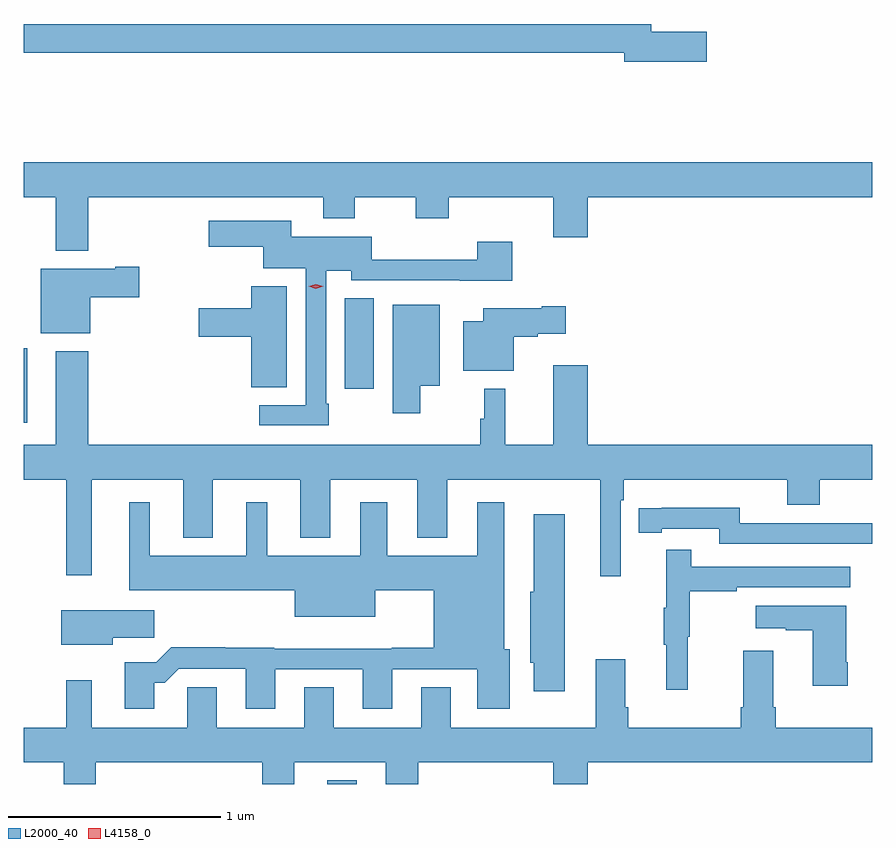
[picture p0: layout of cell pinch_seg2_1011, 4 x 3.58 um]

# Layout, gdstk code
import gdstk
lib = gdstk.Library(unit=1e-6, precision=1e-09)
def R(c, l, rs):  # rectangles x0, y0, x1, y1
    for r in rs: c.add(gdstk.rectangle(r[:2], r[2:], *l))
def P(c, l, *ps):  # polygons
    for p in ps: c.add(gdstk.Polygon(p, *l))
L2000_40 = (2000, 40)
L4158_0 = (4158, 0)

pinch_seg2_1011 = lib.new_cell('pinch_seg2_1011')
R(pinch_seg2_1011, L2000_40, [(307.799,590.258,307.939,590.275), (306.369,591.96,306.385,592.312), (307.883,592.122,308.02,592.547)])
P(pinch_seg2_1011, L2000_40, [(309.589,593.804),(309.328,593.804),(309.328,593.84),(306.369,593.84),(306.369,593.704),(309.2,593.704),(309.2,593.662),(309.589,593.662)],
  [(306.674,593.024),(307.781,593.024),(307.781,592.925),(307.929,592.925),(307.929,593.024),(308.218,593.024),(308.218,592.925),(308.373,592.925),(308.373,593.024),(308.864,593.024),(308.864,592.836),(309.028,592.836),(309.028,593.024),(310.369,593.024),(310.369,593.188),(306.369,593.188),(306.369,593.024),(306.521,593.024),(306.521,592.772),(306.674,592.772)],
  [(307.807,592.051),(307.794,592.051),(307.794,592.676),(307.914,592.676),(307.914,592.632),(308.425,592.632),(308.425,592.631),(308.672,592.631),(308.672,592.813),(308.507,592.813),(308.507,592.73),(308.01,592.73),(308.01,592.837),(307.63,592.837),(307.63,592.912),(307.242,592.912),(307.242,592.79),(307.499,592.79),(307.499,592.688),(307.698,592.688),(307.698,592.044),(307.479,592.044),(307.479,591.948),(307.807,591.948)],
  [(306.682,592.553),(306.913,592.553),(306.913,592.695),(306.8,592.695),(306.8,592.687),(306.449,592.687),(306.449,592.382),(306.682,592.382)],
  [(307.609,592.603),(307.442,592.603),(307.442,592.501),(307.194,592.501),(307.194,592.367),(307.442,592.367),(307.442,592.129),(307.609,592.129)],
  [(308.238,592.136),(308.329,592.136),(308.329,592.516),(308.108,592.516),(308.108,592.005),(308.238,592.005)],
  [(308.68,592.367),(308.793,592.367),(308.793,592.379),(308.923,592.379),(308.923,592.509),(308.81,592.509),(308.81,592.501),(308.534,592.501),(308.534,592.438),(308.441,592.438),(308.441,592.205),(308.68,592.205)],
  [(309.183,591.596),(309.197,591.596),(309.197,591.692),(309.968,591.692),(309.968,591.575),(310.121,591.575),(310.121,591.692),(310.369,591.692),(310.369,591.856),(309.028,591.856),(309.028,592.231),(308.864,592.231),(308.864,591.856),(308.64,591.856),(308.64,592.12),(308.54,592.12),(308.54,591.98),(308.521,591.98),(308.521,591.856),(306.674,591.856),(306.674,592.297),(306.521,592.297),(306.521,591.856),(306.369,591.856),(306.369,591.692),(306.57,591.692),(306.57,591.243),(306.691,591.243),(306.691,591.692),(307.121,591.692),(307.121,591.419),(307.261,591.419),(307.261,591.692),(307.673,591.692),(307.673,591.419),(307.813,591.419),(307.813,591.692),(308.225,591.692),(308.225,591.419),(308.365,591.419),(308.365,591.692),(309.086,591.692),(309.086,591.237),(309.183,591.237)],
  [(306.985,590.735),(307.034,590.735),(307.101,590.802),(307.415,590.802),(307.415,590.613),(307.555,590.613),(307.555,590.799),(307.967,590.799),(307.967,590.613),(308.107,590.613),(308.107,590.799),(308.507,590.799),(308.507,590.613),(308.659,590.613),(308.659,590.892),(308.635,590.892),(308.635,591.586),(308.507,591.586),(308.507,591.334),(308.083,591.334),(308.083,591.586),(307.955,591.586),(307.955,591.334),(307.516,591.334),(307.516,591.586),(307.418,591.586),(307.418,591.334),(306.964,591.334),(306.964,591.586),(306.866,591.586),(306.866,591.17),(307.646,591.17),(307.646,591.047),(308.026,591.047),(308.026,591.17),(308.303,591.17),(308.303,590.9),(308.103,590.9),(308.103,590.896),(307.551,590.896),(307.551,590.9),(307.319,590.9),(307.319,590.903),(307.064,590.903),(306.994,590.833),(306.845,590.833),(306.845,590.613),(306.985,590.613)],
  [(310.369,591.488),(310.204,591.488),(310.204,591.486),(309.744,591.486),(309.744,591.559),(309.376,591.559),(309.376,591.558),(309.268,591.558),(309.268,591.442),(309.376,591.442),(309.376,591.462),(309.648,591.462),(309.648,591.39),(310.369,591.39)],
  [(308.92,591.529),(308.774,591.529),(308.774,591.165),(308.756,591.165),(308.756,590.829),(308.774,590.829),(308.774,590.694),(308.92,590.694)],
  [(309.5,590.952),(309.508,590.952),(309.508,591.166),(309.731,591.166),(309.731,591.186),(310.264,591.186),(310.264,591.282),(309.515,591.282),(309.515,591.361),(309.398,591.361),(309.398,591.089),(309.387,591.089),(309.387,590.915),(309.398,590.915),(309.398,590.703),(309.5,590.703)],
  [(310.254,590.833),(310.246,590.833),(310.246,591.097),(309.819,591.097),(309.819,590.993),(309.962,590.993),(309.962,590.983),(310.088,590.983),(310.088,590.721),(310.254,590.721)],
  [(306.79,590.947),(306.985,590.947),(306.985,591.076),(306.546,591.076),(306.546,590.915),(306.79,590.915)],
  [(306.709,590.36),(307.493,590.36),(307.493,590.258),(307.645,590.258),(307.645,590.36),(308.075,590.36),(308.075,590.258),(308.228,590.258),(308.228,590.36),(308.864,590.36),(308.864,590.258),(309.028,590.258),(309.028,590.36),(310.369,590.36),(310.369,590.524),(309.914,590.524),(309.914,590.62),(309.901,590.62),(309.901,590.887),(309.761,590.887),(309.761,590.62),(309.749,590.62),(309.749,590.524),(309.218,590.524),(309.218,590.62),(309.205,590.62),(309.205,590.845),(309.065,590.845),(309.065,590.524),(308.383,590.524),(308.383,590.714),(308.243,590.714),(308.243,590.524),(307.831,590.524),(307.831,590.714),(307.691,590.714),(307.691,590.524),(307.279,590.524),(307.279,590.714),(307.14,590.714),(307.14,590.524),(306.691,590.524),(306.691,590.746),(306.57,590.746),(306.57,590.524),(306.369,590.524),(306.369,590.36),(306.557,590.36),(306.557,590.258),(306.709,590.258)])
P(pinch_seg2_1011, L4158_0, [(307.746,592.593),(307.712,592.603),(307.711,592.603),(307.712,592.603),(307.746,592.613),(307.781,592.603),(307.781,592.603),(307.781,592.603)])

lib.write_gds('pinch_seg2_1011.gds')
